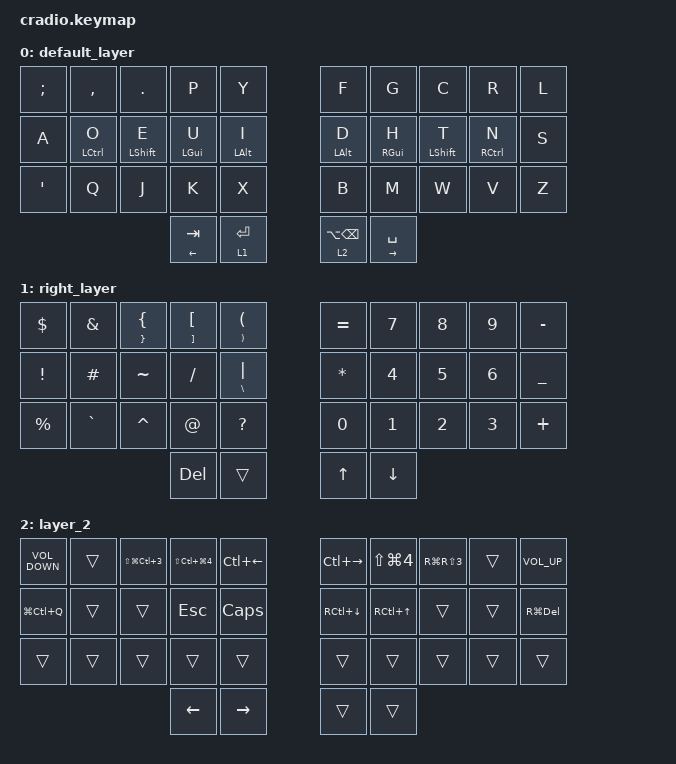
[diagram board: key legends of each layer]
#include <behaviors.dtsi>
#include <dt-bindings/zmk/keys.h>

/ {
    behaviors {
        ht: hold_tap {
            compatible = "zmk,behavior-hold-tap";
            #binding-cells = <2>;
            flavor = "tap-preferred";
            tapping-term-ms = <220>;
            quick-tap-ms = <150>;
            require-prior-idle-ms = <100>;
            bindings = <&kp>, <&kp>;
        };
    };

    conditional_layers { compatible = "zmk,conditional-layers"; };

    combos { compatible = "zmk,combos"; };

    keymap {
        compatible = "zmk,keymap";

        default_layer {
            bindings = <
&kp SEMICOLON  &kp COMMA    &kp PERIOD        &kp P           &kp Y             &kp F                &kp G            &kp C             &kp R        &kp L
&kp A          &ht LCTRL O  &ht LEFT_SHIFT E  &ht LEFT_GUI U  &ht LEFT_ALT I    &ht LEFT_ALT D       &ht RIGHT_GUI H  &ht LEFT_SHIFT T  &ht RCTRL N  &kp S
&kp SQT        &kp Q        &kp J             &kp K           &kp X             &kp B                &kp M            &kp W             &kp V        &kp Z
                                              &ht LEFT TAB    &lt 1 ENTER       &lt 2 LA(BACKSPACE)  &ht RIGHT SPACE
            >;
        };

        right_layer {
            bindings = <
&kp DOLLAR       &kp AMPERSAND  &ht RIGHT_BRACE LEFT_BRACE  &ht RIGHT_BRACKET LEFT_BRACKET  &ht RIGHT_PARENTHESIS LEFT_PARENTHESIS    &kp EQUAL     &kp NUMBER_7  &kp NUMBER_8  &kp NUMBER_9  &kp MINUS
&kp EXCLAMATION  &kp HASH       &kp TILDE                   &kp SLASH                       &ht BACKSLASH PIPE                        &kp ASTERISK  &kp NUMBER_4  &kp NUMBER_5  &kp NUMBER_6  &kp UNDERSCORE
&kp PERCENT      &kp GRAVE      &kp CARET                   &kp AT_SIGN                     &kp QUESTION                              &kp NUMBER_0  &kp NUMBER_1  &kp NUMBER_2  &kp NUMBER_3  &kp PLUS
                                                            &kp DELETE                      &trans                                    &kp UP_ARROW  &kp DOWN
            >;
        };

        layer_2 {
            bindings = <
&kp C_VOLUME_DOWN  &trans  &kp LS(LG(LC(NUMBER_3)))  &kp LS(LC(LG(NUMBER_4)))  &kp LC(LEFT)    &kp LC(RIGHT)  &kp LS(LG(NUMBER_4))  &kp RG(RS(NUMBER_3))  &trans  &kp C_VOLUME_UP
&kp LG(LC(Q))      &trans  &trans                    &kp ESCAPE                &kp CAPSLOCK    &kp RC(DOWN)   &kp RC(UP_ARROW)      &trans                &trans  &kp RG(DELETE)
&trans             &trans  &trans                    &trans                    &trans          &trans         &trans                &trans                &trans  &trans
                                                     &kp LEFT                  &kp RIGHT       &trans         &trans
            >;
        };
    };
};
